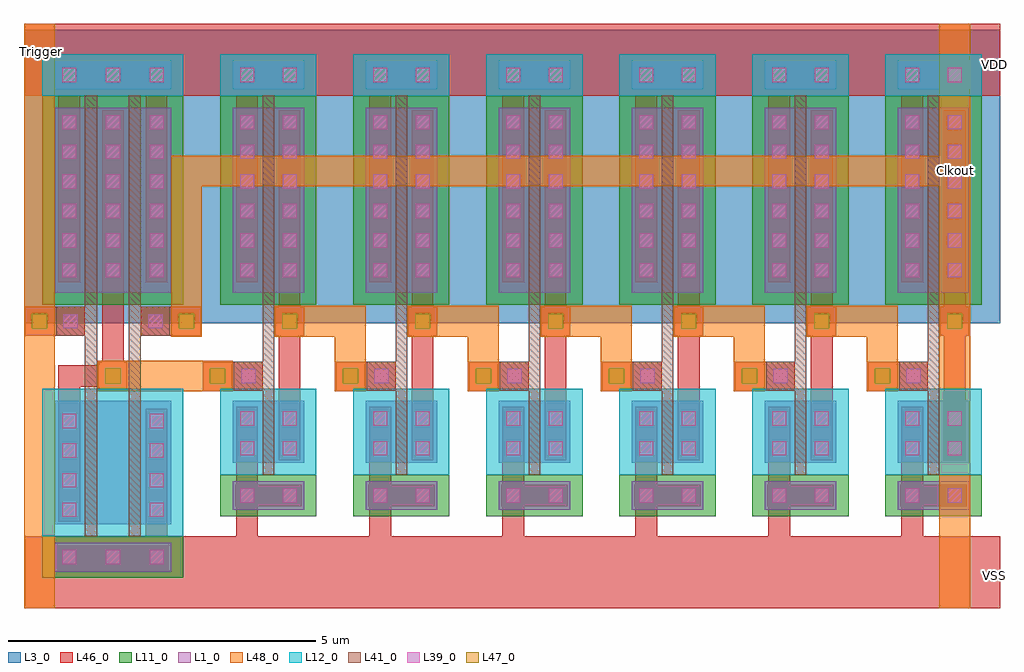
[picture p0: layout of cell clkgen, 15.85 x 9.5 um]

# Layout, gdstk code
import gdstk
lib = gdstk.Library(unit=1e-6, precision=1e-09)
def R(c, l, rs):  # rectangles x0, y0, x1, y1
    for r in rs: c.add(gdstk.rectangle(r[:2], r[2:], *l))
def A(c, l, x, y, w, h, nx, ny, dx, dy):  # array of equal rectangles
    R(c, l, [(x+i*dx, y+j*dy, x+i*dx+w, y+j*dy+h) for i in range(nx) for j in range(ny)])
L1_0 = (1, 0)
L3_0 = (3, 0)
L11_0 = (11, 0)
L12_0 = (12, 0)
L39_0 = (39, 0)
L41_0 = (41, 0)
L46_0 = (46, 0)
L47_0 = (47, 0)
L48_0 = (48, 0)

nand2 = lib.new_cell('nand2')
R(nand2, L1_0, [(-2.92,0.945,-1.03,1.415), (-2.92,1.715,-1.03,3.715), (-2.92,5.475,-1.03,8.475), (-2.92,8.775,-1.03,9.245)])
R(nand2, L3_0, [(-3.42,4.975,-0.53,9.745)])
R(nand2, L11_0, [(-3.12,0.845,-0.83,1.515), (-3.12,5.275,-0.83,8.675)])
R(nand2, L12_0, [(-3.12,1.515,-0.83,3.915), (-3.12,8.675,-0.83,9.345)])
A(nand2, L39_0, -2.8, 1.065, 0.23, 0.23, 3, 2, 0.71, 4.66)
A(nand2, L39_0, -2.8, 1.835, 0.23, 0.23, 1, 4, 0, 0.48)
A(nand2, L39_0, -1.38, 1.835, 0.23, 0.23, 1, 4, 0, 0.48)
A(nand2, L39_0, -2.8, 6.205, 0.23, 0.23, 3, 5, 0.71, 0.48)
A(nand2, L39_0, -2.8, 8.895, 0.23, 0.23, 3, 1, 0.71, 0)
R(nand2, L39_0, [(-2.78,4.895,-2.55,5.125), (-1.4,4.895,-1.17,5.125)])
R(nand2, L41_0, [(-2.43,1.515,-2.23,8.675), (-1.72,1.515,-1.52,8.675), (-2.9,4.775,-2.23,5.245), (-1.72,4.775,-1.05,5.245)])
R(nand2, L46_0, [(-3.42,0.345,-0.53,1.515), (-1.44,1.295,-1.09,3.585), (-2.86,1.755,-2.51,4.295), (-2.21,3.885,-1.74,4.355), (-2.86,3.945,-1.8,4.295), (-2.15,3.945,-1.8,8.435), (-3.405,4.775,-2.43,5.245), (-1.52,4.775,-0.545,5.245), (-2.86,5.645,-2.51,8.895), (-1.44,5.645,-1.09,8.895), (-3.42,8.675,-0.53,9.845)])
R(nand2, L47_0, [(-2.1,3.995,-1.85,4.245), (-3.295,4.885,-3.045,5.135), (-0.905,4.885,-0.655,5.135)])
R(nand2, L48_0, [(-2.225,3.87,-1.725,4.37), (-3.42,4.76,-2.92,5.26), (-1.03,4.76,-0.53,5.26)])
nand2.add(gdstk.Label('VSS', (-2.59,0.815), layer=101, texttype=0))
nand2.add(gdstk.Label('VDD', (-2.685,9.365), layer=101, texttype=0))
nand2.add(gdstk.Label('B', (-0.85,4.975), layer=102, texttype=0))
nand2.add(gdstk.Label('A', (-3.135,4.96), layer=102, texttype=0))
nand2.add(gdstk.Label('Out', (-1.925,4.13), layer=102, texttype=0))

inv = lib.new_cell('inv')
R(inv, L1_0, [(-2.87,4.425,-1.71,4.895), (-2.87,5.195,-1.71,6.195), (-2.87,7.955,-1.71,10.955), (-2.87,11.255,-1.71,11.725)])
R(inv, L3_0, [(-3.37,7.455,-1.21,12.225)])
R(inv, L11_0, [(-3.07,4.325,-1.51,4.995), (-3.07,7.755,-1.51,11.155)])
R(inv, L12_0, [(-3.07,4.995,-1.51,6.395), (-3.07,11.155,-1.51,11.825)])
A(inv, L39_0, -2.75, 8.205, 0.23, 0.23, 1, 6, 0, 0.48)
A(inv, L39_0, -2.06, 8.205, 0.23, 0.23, 1, 6, 0, 0.48)
R(inv, L39_0, [(-2.75,4.545,-2.52,4.775), (-2.06,4.545,-1.83,4.775), (-2.75,5.315,-2.52,5.545), (-2.06,5.315,-1.83,5.545), (-2.75,5.795,-2.52,6.025), (-2.06,5.795,-1.83,6.025), (-2.73,6.485,-2.5,6.715), (-2.75,11.375,-2.52,11.605), (-2.06,11.375,-1.83,11.605)])
R(inv, L41_0, [(-2.38,4.995,-2.2,11.155), (-2.85,6.365,-2.2,6.835)])
R(inv, L46_0, [(-3.37,2.825,-1.21,3.995), (-2.81,3.795,-2.46,6.105), (-2.83,4.485,-1.75,4.835), (-2.12,5.235,-1.77,10.915), (-3.355,6.365,-2.38,6.835), (-2.18,7.255,-1.71,7.725), (-2.81,8.125,-2.46,11.375), (-3.37,11.155,-1.21,12.325)])
R(inv, L47_0, [(-3.245,6.475,-2.995,6.725), (-2.07,7.365,-1.82,7.615)])
R(inv, L48_0, [(-3.37,6.35,-2.87,6.85), (-2.195,7.24,-1.695,7.74)])
inv.add(gdstk.Label('VSS', (-2.845,3.375), layer=101, texttype=0))
inv.add(gdstk.Label('VDD', (-2.85,11.875), layer=101, texttype=0))
inv.add(gdstk.Label('A', (-3.02,6.655), layer=102, texttype=0))
inv.add(gdstk.Label('Out', (-1.915,7.5), layer=102, texttype=0))

clkgen = lib.new_cell('clkgen')
A(clkgen, L48_0, -12.892, 3.55, 0.5, 1.39, 5, 1, 2.16, 0)
A(clkgen, L48_0, -13.877, 4.44, 1.485, 0.5, 5, 1, 2.16, 0)
R(clkgen, L48_0, [(-17.942,0.025,-17.442,9.525), (-3.077,0.025,-2.577,9.525), (-16.747,3.55,-14.552,4.05), (-15.552,4.64,-15.052,7.38), (-15.552,6.88,-2.577,7.38)])
clkgen.add(gdstk.Reference(nand2, (-14.522,-0.32)))
clkgen.add(gdstk.Reference(inv, (-0.882,-2.8)))
clkgen.add(gdstk.Reference(inv, (-3.042,-2.8)))
clkgen.add(gdstk.Reference(inv, (-5.202,-2.8)))
clkgen.add(gdstk.Reference(inv, (-7.362,-2.8)))
clkgen.add(gdstk.Reference(inv, (-9.522,-2.8)))
clkgen.add(gdstk.Reference(inv, (-11.682,-2.8)))
clkgen.add(gdstk.Label('Clkout', (-2.808,7.145), layer=102, texttype=0))
clkgen.add(gdstk.Label('Trigger', (-17.675,9.075), layer=102, texttype=0))
clkgen.add(gdstk.Label('VSS', (-2.175,0.565), layer=101, texttype=0))
clkgen.add(gdstk.Label('VDD', (-2.183,8.86), layer=101, texttype=0))

lib.write_gds('clkgen.gds')
